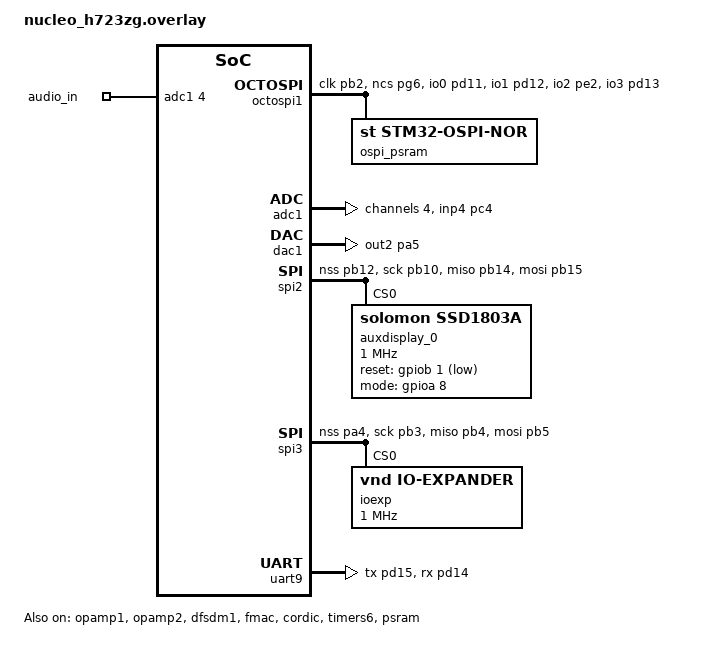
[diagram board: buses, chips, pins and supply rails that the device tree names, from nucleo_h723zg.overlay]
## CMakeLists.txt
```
# SPDX-License-Identifier: Apache-2.0

cmake_minimum_required(VERSION 3.20.0)
find_package(Zephyr REQUIRED HINTS $ENV{ZEPHYR_BASE})
project(vestal-vamp)

# GCC doesn't like the compound literal initializers used for the settings structure.
set_source_files_properties(src/settings.c PROPERTIES COMPILE_FLAGS -Wno-missing-braces)
target_sources(app PRIVATE
        src/main.c
        src/display.c
        src/filter.c
        src/adc.c
        src/dac.c
        src/io.c
        src/timer.c
        src/freq_buffer.c
        src/fft_dma.c
        src/ifft_dma.c
        src/settings.c
        src/ui.c

        src/cordic_stm32.c
        src/dfsdm_stm32.c
        src/fmac_stm32.c
        src/opamp_stm32.c
)

zephyr_code_relocate(LIBRARY modules__cmsis-dsp LOCATION ITCM_TEXT NOKEEP)
zephyr_code_relocate(FILES src/fft_dma.c src/ifft_dma.c LOCATION ITCM_TEXT NOKEEP)

#zephyr_library_compile_options("-Wc++-compat")
#zephyr_library_compile_options("-E")
```

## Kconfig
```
mainmenu "VV"

source "Kconfig.zephyr"
config VV_STM32
     default y
     bool
     select USE_STM32_LL_OPAMP
     select USE_STM32_LL_FMAC
     select USE_STM32_HAL_DFSDM
```

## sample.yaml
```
sample:
  name: vestal-vamp
  description: Vestal Vamp Digital Effects Pedal
tests:
  sample.basic.vestal-vamp:
    tags:
      - LED
      - gpio
    filter: dt_enabled_alias_with_parent_compat("led0", "gpio-leds")
    depends_on: gpio
    harness: led
    integration_platforms:
      - frdm_k64f
```

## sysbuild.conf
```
SB_CONFIG_BOOTLOADER_MCUBOOT=y

# Several options in both MCUboot and Zephyr are controlled exclusively from here:
# See zephyr/share/sysbuild/image_configurations/BOOTLOADER_image_default.cmake
SB_CONFIG_MCUBOOT_MODE_SINGLE_APP=y
SB_CONFIG_BOOT_SIGNATURE_TYPE_NONE=y
```

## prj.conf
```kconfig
CONFIG_KERNEL_BIN_NAME="vv"

CONFIG_FPU=y

#CONFIG_COUNTER_RTC_STM32=y
#CONFIG_COUNTER_RTC_STM32_SUBSECONDS=y
#CONFIG_LOG_TIMESTAMP_64BIT=y
# We run tickless, but this still provides a lower bound to the system time resolution
CONFIG_SYS_CLOCK_TICKS_PER_SEC=1000000
# ISRs are being built with a software shim. We can reduce latency by removing it, but
# isr_tables.c:.irq_info is missing, resulting in corruption of the irq table calculation.
#CONFIG_GEN_SW_ISR_TABLE=n
CONFIG_ISR_TABLES_LOCAL_DECLARATION=y
#CONFIG_ISR_TABLE_SHELL=y

# Allow relocation of .text sections to SRAM
CONFIG_CODE_DATA_RELOCATION=y

CONFIG_GPIO=y
CONFIG_INPUT=y
CONFIG_I2C=y
CONFIG_SPI=y
CONFIG_SPI_LOG_LEVEL_INF=y
CONFIG_COUNTER=y
CONFIG_COUNTER_LOG_LEVEL_INF=y
CONFIG_ADC=y
CONFIG_ADC_LOG_LEVEL_DBG=y
CONFIG_DMA_LOG_LEVEL_INF=y
#CONFIG_ADC_STM32_DMA=y
CONFIG_ADC_STM32_DISABLE_IRQ=y
CONFIG_DAC=y
CONFIG_DAC_STM32_DMA=y
CONFIG_DAC_LOG_LEVEL_INF=y
CONFIG_DMA=y
CONFIG_FLASH=y
CONFIG_FLASH_LOG_LEVEL_INF=y
CONFIG_STM32_MEMMAP=y
CONFIG_FLASH_JESD216_API=y
CONFIG_UART_ASYNC_API=y
CONFIG_PWM=y
CONFIG_RTC=y
CONFIG_DSP=y
CONFIG_AUXDISPLAY=y
CONFIG_AUXDISPLAY_LOG_LEVEL_INF=y

CONFIG_LOG=y
#CONFIG_USE_STM32_ASSERT=y
#CONFIG_LOG_BACKEND_UART=y
#CONFIG_LOG_BACKEND_UART_ASYNC=y
#CONFIG_SHELL_LOG_BACKEND=n
#CONFIG_SHELL_BACKEND_SERIAL_API_POLLING=y
CONFIG_LOG_CMDS=y
CONFIG_LOG_MODE_IMMEDIATE=n
CONFIG_LOG_MODE_DEFERRED=y
CONFIG_LOG_THREAD_ID_PREFIX=y
CONFIG_LOG_PROCESS_THREAD_SLEEP_MS=100
CONFIG_LOG_BUFFER_SIZE=4096
#CONFIG_LOG_PROCESS_TRIGGER_THRESHOLD=10

# Bootloader: these need partition definitions in flash!
CONFIG_USE_DT_CODE_PARTITION=y
CONFIG_BOOTLOADER_MCUBOOT=y
CONFIG_MCUBOOT_GENERATE_UNSIGNED_IMAGE=y
CONFIG_MCUBOOT_IMG_MANAGER=y
CONFIG_RETAINED_MEM=y
CONFIG_RETENTION=y
CONFIG_RETENTION_BOOT_MODE=y
CONFIG_RETENTION_BOOTLOADER_INFO=y
#CONFIG_RETAINED_MEM_LOG_LEVEL_DBG=y
CONFIG_RETENTION_BOOTLOADER_INFO_TYPE_MCUBOOT=y

# Features
CONFIG_NOCACHE_MEMORY=y
CONFIG_CACHE_MANAGEMENT=y

# Provides spinlock checking
#CONFIG_ASSERT=y
#CONFIG_PRINTK_SYNC=y

CONFIG_CONSOLE_SUBSYS=y
CONFIG_HWINFO=y

CONFIG_STATS=y
#CONFIG_RTIO=y
#CONFIG_I2C_RTIO=y
#CONFIG_SPI_RTIO=y

## Firmware upgrade
# There are several possible ways to implement firmware updates:
# 1) through MCUboot and DFU (or via serial recovery over ACM)
# 2) live over USB using DFU
# 3) live over serial using MCUMGR (see mcumgr-client, written in rust)
# of these DFU is probably most efficient but serial over USB likely
# requires less setup on the host machine.
#CONFIG_ZCBOR=y
#CONFIG_NETWORKING=y # Required for MCUMGR
#CONFIG_MCUMGR=y

CONFIG_IMG_MANAGER=y
CONFIG_MCUBOOT_SHELL=y
CONFIG_FLASH_MAP=y
CONFIG_FLASH_MAP_SHELL=y
CONFIG_STREAM_FLASH=y

## Application features
CONFIG_CMSIS_DSP=y
CONFIG_CMSIS_DSP_BASICMATH=y
CONFIG_CMSIS_DSP_COMPLEXMATH=y
CONFIG_CMSIS_DSP_FASTMATH=y
CONFIG_CMSIS_DSP_INTERPOLATION=y
CONFIG_CMSIS_DSP_SUPPORT=y
CONFIG_CMSIS_DSP_TRANSFORM=y
CONFIG_CMSIS_DSP_WINDOW=y

#CONFIG_CPP=y
#CONFIG_STD_CPP11=y
#CONFIG_MINIMAL_LIBCPP=y

#CONFIG_NET_IPV4_IGMP=y

# Required for HTTP
#CONFIG_NET_SHELL=y
#CONFIG_NET_STATISTICS=y
#CONFIG_NET_L2_ETHERNET=y
#CONFIG_NET_IPV6=y
#CONFIG_NET_IPV4=y
#CONFIG_NET_DHCPV4=y
#CONFIG_NET_DHCPV6=y

#CONFIG_EVENTFD=y
#CONFIG_NET_SOCKETS=y
#CONFIG_NET_TCP=y
#CONFIG_FILE_SYSTEM=y
#CONFIG_HTTP_SERVER=y

# Services
CONFIG_BOOTARGS=y
CONFIG_SHELL=y
#CONFIG_ADC_SHELL=y
#CONFIG_COUNTER_SHELL=y
#CONFIG_DAC_SHELL=y
#CONFIG_FLASH_SHELL=y
CONFIG_GPIO_SHELL=y
CONFIG_HWINFO_SHELL=y
#CONFIG_I2C_SHELL=y
#CONFIG_SPI_SHELL=y
CONFIG_STATS_SHELL=y
CONFIG_KERNEL_SHELL=y

CONFIG_I2C_STATS=y
CONFIG_SPI_STATS=y
CONFIG_THREAD_RUNTIME_STATS=y
CONFIG_SYS_HEAP_RUNTIME_STATS=y

## USB Support
# https://pid.codes/howto/: 0x1209
# https://github.com/obdev/v-usb/blob/master/usbdrv/USB-IDs-for-free.txt: 05dc:16c0 or 27d8:16c0 for libusb
# https://wiki.openmoko.org/wiki/USB_Product_IDs: 0x1457 (FIC, Inc) or 0x1d50 (Openmoko, Inc)
# In the future do we want to support using the device as an audio source?
#CONFIG_USB_DEVICE_STACK=y
#CONFIG_USB_DEVICE_VID=0x1209
## 'vv'
#CONFIG_USB_DEVICE_PID=0x7676
#CONFIG_USB_DEVICE_MANUFACTURER="Wagner Metalworks"
#CONFIG_USB_DEVICE_PRODUCT="Vestal Vamp"
#
#CONFIG_TRACING=y
#CONFIG_TRACING_CTF=y
#CONFIG_TRACING_BACKEND_USB=y

# Debugging
CONFIG_DEBUG=y
CONFIG_DEBUG_THREAD_INFO=y
#CONFIG_OPENOCD=y
CONFIG_OUTPUT_SYMBOLS=y
CONFIG_THREAD_ANALYZER=y
```

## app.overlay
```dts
/ {
	chosen {
		zephyr,code-partition = &slot0_partition;
	};
};

&fdcan1 {
	status = "disabled";
};

&octospi1 {
	pinctrl-0 = <&octospim_p1_dqs_pa1 &octospim_p1_clk_pa3 &octospim_p1_io0_pa2 &octospim_p1_io1_pb0 &octospim_p1_io2_pa7 &octospim_p1_io3_pa6>;
	pinctrl-names = "default";
	status = "okay";
};

&adc1 {
	st,adc-clock-source = <1>;
	st,adc-prescaler = <4>;
	vref-mv = <3300>;
	status = "okay";
};

&adc2 {
	st,adc-clock-source = <1>;
	st,adc-prescaler = <4>;
	vref-mv = <3300>;
	status = "okay";
};

&dac1 {
	status = "okay";
};

&dma1 {
	status = "okay";
};

&dma2 {
	status = "okay";
};

&bdma1 {
	status = "okay";
};

&dmamux1 {
	status = "okay";
};

&dmamux2 {
	status = "okay";
};

&sram4 {
	zephyr,memory-attr = <DT_MEM_ARM_MPU_RAM_NOCACHE>;
	status = "okay";
};

&mac {
	status = "okay";
};

&flash0 {
	partitions {
		compatible = "fixed-partitions";
		#address-cells = <1>;
		#size-cells = <1>;

		boot_partition: partition@0 {
			label = "mcuboot";
			reg = <0x00000000 0xc000>;
		};
		slot0_partition: partition@c000 {
			label = "image-0";
			reg = <0x0000C000 0x60000>;
		};
		slot1_partition: partition@6c000 {
			label = "image-1";
			reg = <0x0006c000 0x60000>;
		};
		storage_partition: partition@bc000 {
			label = "storage";
			reg = <0x000bc000 0x00044000>;
		};
	};
};
```

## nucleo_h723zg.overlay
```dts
/ {
	chosen {
		zephyr,code-partition = &slot0_partition;
		zephyr,boot-mode = &boot_mode0;
		zephyr,bootloader-info = &boot_info0;
		ioexp,uart = &uart9;
		ioexp,spi = &ioexp;
	};

	zephyr,user {
		io-channels = <&adc1 4>;
		io-channel-names = "audio_in";

		dmas = <&dmamux1 5 0 (STM32_DMA_MEMORY_TO_MEMORY | STM32_DMA_MEM_INC |
		       STM32_DMA_MEM_32BITS | STM32_DMA_PERIPH_32BITS)>,
		       <&dmamux1 6 0 (STM32_DMA_MEMORY_TO_MEMORY | STM32_DMA_MEM_INC |
		       STM32_DMA_MEM_32BITS | STM32_DMA_PERIPH_32BITS)>;
		dma-names = "audio_in_dma", "audio_out_dma";
	};

	psram: psram@90000000 {
		compatible = "zephyr,memory-region", "mmio-sram";
		device_type = "memory";
		reg = <0x90000000 DT_SIZE_M(8)>;
		zephyr,memory-region = "PSRAM";
		status = "okay";
	};
};


&backup_sram {
	retainedmem0: retainedmem {
		compatible = "zephyr,retained-ram";
		status = "okay";
		#address-cells = <1>;
		#size-cells = <1>;

		boot_info0: retention@0 {
			compatible = "zephyr,retention";
			status = "okay";
			reg = <0x00 0x100>;
		};
		boot_mode0: retention@100 {
			compatible = "zephyr,retention";
			status = "okay";
			reg = <0x100 0x1>;
		};
	};
};

&flash0 {
	partitions {
		compatible = "fixed-partitions";
		#address-cells = <1>;
		#size-cells = <1>;

		boot_partition: partition@0 {
			label = "mcuboot";
			reg = <0x00000000 0x20000>;
		};
		slot0_partition: partition@20000 {
			label = "image-0";
			reg = <0x00020000 0x60000>;
		};
		slot1_partition: partition@80000 {
			label = "image-1";
			reg = <0x00080000 0x60000>;
		};

		storage_partition: partition@e0000 {
			label = "storage";
			reg = <0x000e0000 0x00020000>;
		};
	};
};

&octospi1 {
	pinctrl-0 = <
		&octospim_p1_clk_pb2
		&octospim_p1_ncs_pg6
		&octospim_p1_io0_pd11
		&octospim_p1_io1_pd12
		&octospim_p1_io2_pe2
		&octospim_p1_io3_pd13>;
	pinctrl-names = "default";
	status = "okay";

	ospi_psram: ospi_psram@90000000 {
		/* The PSRAM functionally behaves like NOR flash, using the same commands. */
		compatible = "st,stm32-ospi-nor";
		reg = <0x90000000 DT_SIZE_M(8)>; /* 64 Mbits */
		/* The datasheet says 33 MHz is the max for a basic single-byte SPI read
		 * (cmd 'h03), 84 MHz for bursts crossing page boundaries, and 133 MHz
		 * otherwise. Start off at 33 MHz to get things working.
		 * Data sample training is required for speeds > 84 MHz.
		 */
		ospi-max-frequency = <DT_FREQ_M(33)>;
		spi-bus-width = <OSPI_QUAD_MODE>;
		data-rate = <OSPI_STR_TRANSFER>;
		status = "okay";

		/* The PSRAM doesn't appear to support SFDP so we need to specify those
		 * parameters here. 36 bytes LE.
		 */
		sfdp-bfp = [
			53 46 44 50  00 01 00 ff  00 00 01 0f  10 00 00 ff
			00 00 20 00  ff ff ff 03  06 eb 00 00  00 00 00 00
			10 00 00 00  00 00 00 00  00 00 06 eb  00 00 00 00
			00 00 00 00  00 00 00 00  a0 00 00 00  00 00 00 00
			00 00 00 00  00 00 00 00  00 00 00 00
		];
	};
};

&opamp1 {
	pinctrl-0 = <&analog_pb0>; /* vinp, vinn is connected internally */
	pinctrl-names = "default";
	status = "okay";

	pos-term = <0>; /* gpio */
	neg-term = <3>; /* vinm */
};

&opamp2 {
	pinctrl-0 = <&analog_pe7>;
	pinctrl-names = "default";
	status = "okay";

	pos-term = <1>; /* dac */
	neg-term = <3>; /* vinm */
};

&dfsdm1 {
	dmas = <&dmamux1 3 101 (STM32_DMA_PERIPH_TO_MEMORY | STM32_DMA_MEM_INC |
		STM32_DMA_MEM_16BITS | STM32_DMA_PERIPH_16BITS)>;
	dma-names = "rx";
	status = "okay";

	sinc_order = "sinc4";
	intg_oversample = <1>;
	sinc_oversample = <16>;
	rshift = <1>;
};

&fmac {
	dmas = <&dmamux1 2 121 (STM32_DMA_MEMORY_TO_PERIPH | STM32_DMA_MEM_INC |
		STM32_DMA_MEM_16BITS | STM32_DMA_PERIPH_16BITS)>;
	dma-names = "tx";
	status = "okay";

	/* The below need to match the oversampling ratio in audio.h! */
	x1_wm = <1>;
	x1_size = <128>;
	y_wm = <1>;
	y_size = <4>;
	x2_size = <124>;

	operation = "convolution";
	lshift = <0>;
	clip;
};

&cordic {
	dmas = <&dmamux1 0 123 STM32_DMA_PERIPH_TX>,
		<&dmamux1 1 122 STM32_DMA_PERIPH_RX>;
	dma-names = "tx", "rx";
	/* dmamux1 122 RD 123 WR */
	status = "okay";
};

&adc1 {
	#address-cells = <1>;
	#size-cells = <0>;

	pinctrl-0 = <&adc1_inp4_pc4>; /* opamp1 output */
	pinctrl-names = "default";

	st,adc-clock-source = <SYNC>;
	/* 34375 kHz or 550 MHz/16 */
	st,adc-prescaler = <4>;
	/* The ADC full range is in fact 3.3V, but the opamp doesn't appear to
	 * want to drive beyond 2.5V. TODO: investigate */
	vref-mv = <3300>;
	status = "okay";

	channel@4 {
		reg = <4>;
		zephyr,gain = "ADC_GAIN_1";
		/* This is the offset for 1.25 V */
		zephyr,offset = <0x60F8>;
		zephyr,reference = "ADC_REF_INTERNAL";
		zephyr,acquisition-time = <ADC_ACQ_TIME(ADC_ACQ_TIME_TICKS, 17)>;
		zephyr,resolution = <16>;
		zephyr,trig-src = <13>;
	};
};

&adc2 {
	st,adc-clock-source = <1>;
	st,adc-prescaler = <4>;
	vref-mv = <3300>;
	status = "disabled";
};

&dac1 {
	pinctrl-0 = <&dac1_out2_pa5>;
	pinctrl-names = "default";
	status = "okay";

	/* DMA to DAC consumes from FMAC output register.
	 * 67 = dac1ch1, 68 = dac1ch2
	 */
	dmas = <&dmamux1 4 68 (STM32_DMA_MEMORY_TO_PERIPH |
		       STM32_DMA_MEM_16BITS | STM32_DMA_PERIPH_16BITS)>;
	dma-names = "tx";
};

&dma1 {
	status = "okay";
};

&dma2 {
	status = "okay";
};

&bdma1 {
	status = "okay";
};

&dmamux1 {
	status = "okay";
};

&dmamux2 {
	status = "okay";
};

&sram4 {
	zephyr,memory-attr = <DT_MEM_ARM_MPU_RAM_NOCACHE>;
	status = "okay";
};

&mac {
	status = "okay";
};

&spi2 {
	fifo-enable;
	pinctrl-0 = <&spi2_nss_pb12 &spi2_sck_pb10 &spi2_miso_pb14 &spi2_mosi_pb15>;
	pinctrl-names = "default";
	status = "okay";

	/* This ensures we use hardware /CS control */
	/delete-property/ cs-gpios;

	auxdisplay_0: display@0 {
		compatible = "solomon,ssd1803a";
		spi-max-frequency = <1000000>;
		reg = <0>;
		status = "okay";

		reset-gpios = <&gpiob 1 (GPIO_ACTIVE_LOW | GPIO_PULL_UP)>;
		mode-gpios = <&gpioa 8 (GPIO_ACTIVE_HIGH | GPIO_PULL_UP)>;

		columns = <20>;
		rows = <4>;
		cgrom-size = <240>;
		character-set = <0>;
	};
};

&spi3 {
	fifo-enable;
	pinctrl-0 = <&spi3_nss_pa4 &spi3_sck_pb3 &spi3_miso_pb4 &spi3_mosi_pb5>;
	pinctrl-names = "default";
	status = "okay";

	/* This ensures we use hardware /CS control */
	/delete-property/ cs-gpios;

	ioexp: ioexp@0 {
		compatible = "vnd,io-expander";
		spi-max-frequency = <DT_FREQ_M(1)>;
		reg = <0>;
		status = "okay";
	};
};

&uart9 {
	pinctrl-0 = <&uart9_tx_pd15 &uart9_rx_pd14>;
	pinctrl-names = "default";
	status = "okay";
};

&timers6 {
	st,prescaler = <0>;
	status = "okay";

	counter {
		status = "okay";
	};
};

/* Unused hardware */
&fdcan1 {
	status = "disabled";
};

&ext_memory {
	status = "disabled";
};

&i2c1 {
	status = "disabled";
};

&spi1 {
	status = "disabled";
};

&usart2 {
	status = "disabled";
};

/* Disable MAC and MDIO for now to free up PC4. Still need to remove
 * SB36 to avoid driving RMII_RXD0 mid-threshold.
 */
&mac {
	status = "disabled";
};

&mdio {
	status = "disabled";
};

&green_led {
	/* We use PA5 for the DAC output and PB0 for the input opamp */
	status = "disabled";
};
```

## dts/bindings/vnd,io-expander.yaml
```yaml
# Copyright (c) 2020 Nordic Semiconductor ASA
# SPDX-License-Identifier: Apache-2.0

description: I/O Expander

compatible: "vnd,io-expander"

include:
  - name: spi-device.yaml
```

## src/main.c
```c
/*
 * Copyright (c) 2016 Intel Corporation
 *
 * SPDX-License-Identifier: Apache-2.0
 */

#include <stdio.h>
#include <zephyr/kernel.h>
#include <zephyr/drivers/gpio.h>
#include <zephyr/logging/log.h>

#include "filter.h"
#include "adc.h"
#include "dac.h"
#include "display.h"
#include "io.h"
#include "timer.h"
#include "filter.h"
#include "fft_dma.h"
#include "ifft_dma.h"

#include "settings.h"
#include "ui.h"

LOG_MODULE_REGISTER(main, LOG_LEVEL_INF);

#define SLEEP_TIME_MS 250

/* The devicetree node identifier for the "led1" alias. */
#define LED_NODE DT_ALIAS(led1)

static const struct gpio_dt_spec led = GPIO_DT_SPEC_GET(LED_NODE, gpios);

/* TODO:
SPI to ioexp debug
FFT/IFFT re-enable time and pitch shift
granular control
FFT/IFFT optimization
*/

void ui_display(uint16_t frame);

int main(void)
{
	int ret;
	bool led_state = true;

	if (!gpio_is_ready_dt(&led)) {
		return 0;
	}

	ret = gpio_pin_configure_dt(&led, GPIO_OUTPUT_ACTIVE);
	if (ret < 0) {
		return 0;
	}

	settings_init();
	io_init();

	/* Data init */
	fft_init();
	ifft_init();

	adc_init();
	dac_init();
	timer_init();
	display_init();

	k_msleep(100);

	filter_start();
	adc_start();
	timer_start();

	// k_msleep(100);
	// timer_stop();

	uint16_t i = 0;
	while (1) {
		ret = gpio_pin_toggle_dt(&led);
		if (ret < 0) {
			return 0;
		}

		led_state = !led_state;

		ui_display(i);
		i++;

#if 0
		while (1) {
			volatile uint32_t *pin = (volatile uint32_t *)(0x90000000);
			volatile uint32_t *pout = (volatile uint32_t *)(0x90000010);
			for (int j=0;j<256;j++) {
				pout[j] = j;
				pin[j] = pout[256 - j];
			}
			k_msleep(1);
		}
#endif
		io_work();
		// timer_stats();
		// adc_stats();
		// dac_stats();
		//filter_stats();
		k_msleep(SLEEP_TIME_MS);
	}
	return 0;
}
```

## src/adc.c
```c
#include <zephyr/drivers/adc.h>
#include <zephyr/drivers/dma.h>
#include <zephyr/kernel.h>
#include <zephyr/logging/log.h>
#include "audio.h"
#include "adc.h"
#include "dma.h"
#include "fft_dma.h"

LOG_MODULE_REGISTER(audio_adc, LOG_LEVEL_INF);

/* Data of ADC io-channels specified in devicetree. */
static const struct adc_dt_spec adc_channel =
	ADC_DT_SPEC_GET_BY_NAME(DT_PATH(zephyr_user), audio_in);

static const struct adc_sequence_options opts = {
	.continuous = true,
};

static struct adc_sequence sequence = {
	.options = &opts,
	.buffer = &adc_buffer,
	/* buffer size in bytes, not number of samples */
	.buffer_size = sizeof(adc_buffer),
};

int adc_init(void)
{
	int ret;

	/* Configure channels individually prior to sampling. */
	ret = adc_is_ready_dt(&adc_channel);
	if (!ret) {
		LOG_ERR("ADC controller device %s not ready", adc_channel.dev->name);
		return ret;
	}

	LOG_INF("ADC %s:%d: %d bits, vref %d, %d ticks, trig %d", adc_channel.dev->name,
		adc_channel.channel_id, adc_channel.resolution, adc_channel.vref_mv,
		adc_channel.channel_cfg.acquisition_time, adc_channel.channel_cfg.trig_src);
	ret = adc_channel_setup_dt(&adc_channel);
	if (ret < 0) {
		LOG_ERR("Could not setup channel: %d\n", ret);
		return ret;
	}

	return 0;
}

int adc_start(void)
{
	int err;

	(void)adc_sequence_init_dt(&adc_channel, &sequence);

	err = adc_read_dt(&adc_channel, &sequence);
	if (err < 0) {
		LOG_ERR("Could not read (%d)", err);
		return err;
	}
	/* This is hacked together such that the read call returns
	 * before data is available, as we're in streaming mode.
	 */

	return 0;
}
```

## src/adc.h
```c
#ifndef __ADC_H__
#define __ADC_H__

#include <stdint.h>
#include "audio.h"

/* Internal */
#define SAMPLE_COUNT   16
#define ADC_RESOLUTION 16

/* The amount of data for each callback. This is half the buffer size because
 * we use the half-transfer interrupt used in cyclic mode
 */
#define AUDIO_IN_BLOCK_SIZE FFT_SIZE

extern audio_raw_t adc_buffer[AUDIO_IN_BLOCK_SIZE * 2];

int adc_init(void);
int adc_start(void);
int adc_stats(void);

#endif /* __ADC_H__ */
```

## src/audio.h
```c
#ifndef __AUDIO_H__
#define __AUDIO_H__

#include <stdint.h>

#define AUDIO_TIMER_HZ   48000
#define AUDIO_OVERSAMPLE 16

/**
 * The size of the FFT in real samples.
 */
#define FFT_SIZE 1024

/**
 * The natural log base 2 of `INV_OVERLAP`.
 */
#define INV_OVERLAP_BITS 2

/**
 * The inverse of one minus the window overlap amount. If the overlap is 75%, the
 * inverse overlap is 4.
 */
#define INV_OVERLAP (1 << INV_OVERLAP_BITS)

/**
 * The size of the window overlap in real samples.
 */
#define OVERLAP_SAMPLES (FFT_SIZE / INV_OVERLAP)

typedef int16_t audio_raw_t;

#endif /* __AUDIO_H__ */
```

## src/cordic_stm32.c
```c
#define DT_DRV_COMPAT st_stm32_cordic

#include <zephyr/kernel.h>
#include <soc.h>
#include <zephyr/init.h>
#include <zephyr/logging/log.h>
#include <zephyr/drivers/reset.h>
#include <zephyr/drivers/clock_control.h>
#include <zephyr/drivers/clock_control/stm32_clock_control.h>
#include <zephyr/drivers/dma/dma_stm32.h>
#include <zephyr/drivers/dma.h>
#include <zephyr/toolchain.h>

#include <stm32_ll_dma.h>
#include <stm32h7xx_ll_cordic.h>
#include "cordic_stm32.h"

LOG_MODULE_REGISTER(cordic_stm32, LOG_LEVEL_INF);

struct stream {
	const struct device *dma_dev;
	uint32_t channel;
	struct dma_config dma_cfg;
	struct dma_block_config dma_blk_cfg;
	uint8_t mem_burst;
};

struct cordic_stm32_config {
	const struct stm32_pclken *pclken;
	size_t pclk_len;
	/* reset controller device configuration*/
	const struct reset_dt_spec reset;
};

struct cordic_stm32_data {
	CORDIC_TypeDef *cordic;

	/* For now only sample input DMA is implemented. */
	struct stream dma_tx;
	struct stream dma_rx;
	volatile int dma_error;

	const struct cordic_cmd *cmd;
};

/* Returns the number of arguments for each function. See CORDIC documentation
 * for the associated STM32.
 */
static inline int cordic_arg_count(enum cordic_func func)
{
	switch (func) {
	case CORDIC_FUNC_COSINE:
	case CORDIC_FUNC_SINE:
	case CORDIC_FUNC_PHASE:
	case CORDIC_FUNC_MODULUS:
		return 2;
	case CORDIC_FUNC_ARCTANGENT:
	case CORDIC_FUNC_HCOSINE:
	case CORDIC_FUNC_HSINE:
	case CORDIC_FUNC_HARCTANGENT:
	case CORDIC_FUNC_NATURALLOG:
	case CORDIC_FUNC_SQUAREROOT:
		return 1;
	}

	LOG_ERR("Invalid CORDIC func");
	return 0;
}

/* Returns the number of results for each function. See CORDIC documentation
 * for the associated STM32.
 */
static inline int cordic_res_count(enum cordic_func func)
{
	switch (func) {
	case CORDIC_FUNC_COSINE:
	case CORDIC_FUNC_SINE:
	case CORDIC_FUNC_PHASE:
	case CORDIC_FUNC_MODULUS:
	case CORDIC_FUNC_HCOSINE:
	case CORDIC_FUNC_HSINE:
		return 2;
	case CORDIC_FUNC_ARCTANGENT:
	case CORDIC_FUNC_HARCTANGENT:
	case CORDIC_FUNC_NATURALLOG:
	case CORDIC_FUNC_SQUAREROOT:
		return 1;
	}

	LOG_ERR("Invalid CORDIC func");
	return 0;
}

static inline int cordic_arg_width(const struct cordic_cmd *cmd)
{
	if (cmd->arg_format == CORDIC_FORMAT_32) {
		return 2 * cordic_arg_count(cmd->func);
	}
	return cordic_arg_count(cmd->func);
}

static inline int cordic_res_width(const struct cordic_cmd *cmd)
{
	if (cmd->arg_format == CORDIC_FORMAT_32) {
		return 2 * cordic_res_count(cmd->func);
	}
	return cordic_res_count(cmd->func);
}

static inline void cordic_config(CORDIC_TypeDef *cordic, const struct cordic_cmd *cmd)
{
	LL_CORDIC_Config(cordic, (uint32_t)cmd->func << CORDIC_CSR_FUNC_Pos,
			 (uint32_t)cmd->iterations << CORDIC_CSR_PRECISION_Pos,
			 (uint32_t)cmd->lshift << CORDIC_CSR_SCALE_Pos,
			 cordic_arg_width(cmd) == 4 ? LL_CORDIC_NBWRITE_2 : LL_CORDIC_NBWRITE_1,
			 cordic_res_width(cmd) == 4 ? LL_CORDIC_NBREAD_2 : LL_CORDIC_NBREAD_1,
			 cmd->arg_format == CORDIC_FORMAT_16 ? LL_CORDIC_INSIZE_16BITS
							     : LL_CORDIC_INSIZE_32BITS,
			 cmd->res_format == CORDIC_FORMAT_16 ? LL_CORDIC_OUTSIZE_16BITS
							     : LL_CORDIC_OUTSIZE_32BITS);
}

static void dma_tx_callback(const struct device *dev, void *user_data, uint32_t channel, int status)
{
	/* user_data directly holds the cordic device */
	struct cordic_stm32_data *data = (struct cordic_stm32_data *)user_data;

	if (channel == data->dma_tx.channel) {
		if (status < 0) {
			LOG_ERR("DMA sampling complete, but DMA reported error %d", status);
			data->dma_error = status;
			LL_CORDIC_DisableDMAReq_WR(data->cordic);
		}
		dma_stop(data->dma_tx.dma_dev, data->dma_tx.channel);
	}
}

static void dma_rx_callback(const struct device *dev, void *user_data, uint32_t channel, int status)
{
	/* user_data directly holds the cordic device */
	struct cordic_stm32_data *data = (struct cordic_stm32_data *)user_data;

	if (channel == data->dma_rx.channel) {
		if (data->cmd->callback) {
			data->cmd->callback(dev, status);
		}
		if (status < 0) {
			LOG_ERR("DMA sampling complete, but DMA reported error %d", status);
			data->dma_error = status;
			LL_CORDIC_DisableDMAReq_RD(data->cordic);
		}
		dma_stop(data->dma_rx.dma_dev, data->dma_rx.channel);
	}
}

static int cordic_stm32_dma_start(const struct device *dev, const struct cordic_cmd *cmd,
				  bool is_tx)
{
	struct cordic_stm32_data *data = (struct cordic_stm32_data *)dev->data;
	struct dma_block_config *blk_cfg;
	int ret;

	struct stream *dma = is_tx ? &data->dma_tx : &data->dma_rx;

	blk_cfg = &dma->dma_blk_cfg;

	if (is_tx) {
		blk_cfg->block_size = cmd->count * cordic_arg_width(data->cmd);

		/* memory to peripheral */
		blk_cfg->source_address = (uint32_t)cmd->buffer_arg;
		blk_cfg->source_addr_adj = DMA_ADDR_ADJ_INCREMENT;
		dma->dma_cfg.source_data_size = 4;
		dma->dma_cfg.source_burst_length = dma->mem_burst;

		blk_cfg->dest_address = (uint32_t)&data->cordic->WDATA;
		blk_cfg->dest_addr_adj = DMA_ADDR_ADJ_NO_CHANGE;
		/* Perform 16-bit writes to the CORDIC block only if there's
		 * only one 16-bit argument per operation.
		 */
		dma->dma_cfg.dest_data_size = cordic_arg_width(data->cmd) == 1 ? 2 : 4;
		/* Only perform a single write per write request */
		dma->dma_cfg.dest_burst_length = 1;
	} else {
		blk_cfg->block_size = cmd->count * cordic_res_width(data->cmd);

		/* peripheral to memory */
		blk_cfg->source_address = (uint32_t)&data->cordic->RDATA;
		blk_cfg->source_addr_adj = DMA_ADDR_ADJ_NO_CHANGE;
		/* Same computation on the read side */
		dma->dma_cfg.source_data_size = cordic_res_width(data->cmd) == 1 ? 2 : 4;
		/* Only perform a single read per read request */
		dma->dma_cfg.source_burst_length = 1;

		blk_cfg->dest_address = (uint32_t)cmd->buffer_res;
		blk_cfg->dest_addr_adj = DMA_ADDR_ADJ_INCREMENT;
		dma->dma_cfg.dest_data_size = 4;
		dma->dma_cfg.dest_burst_length = dma->mem_burst;
	}
	blk_cfg->source_reload_en = 0;
	blk_cfg->dest_reload_en = 0;

	/* Manually set the FIFO threshold to 1/4 because the
	 * dmamux DTS entry does not contain fifo threshold
	 */
	blk_cfg->fifo_mode_control = 0;

	blk_cfg->next_block = NULL;

	/* direction is given by the DT */
	dma->dma_cfg.block_count = 1;
	dma->dma_cfg.complete_callback_en = 1; /* Callback at each block */

	dma->dma_cfg.head_block = blk_cfg;
	dma->dma_cfg.user_data = data;

	ret = dma_config(dma->dma_dev, dma->channel, &dma->dma_cfg);
	if (ret != 0) {
		LOG_ERR("Problem setting up DMA: %d", ret);
		return ret;
	}

	data->dma_error = 0;
	ret = dma_start(dma->dma_dev, dma->channel);
	if (ret != 0) {
		LOG_ERR("Problem starting DMA: %d", ret);
		return ret;
	}

	LOG_DBG("DMA started: %d B to %p", blk_cfg->block_size, (void *)blk_cfg->dest_address);

	return ret;
}

int cordic_stm32_start(const struct device *dev, const struct cordic_cmd *cmd)
{
	struct cordic_stm32_data *data = (struct cordic_stm32_data *)dev->data;

	data->cmd = cmd;

	cordic_stm32_dma_start(dev, cmd, false);
	cordic_stm32_dma_start(dev, cmd, true);

	/* Enable DMA read and write requests */
	LL_CORDIC_EnableDMAReq_WR(data->cordic);
	LL_CORDIC_EnableDMAReq_RD(data->cordic);

	LOG_DBG("CORDIC started");
	return 0;
}

static int cordic_stm32_init(const struct device *dev)
{
	const struct cordic_stm32_config *cfg = (const struct cordic_stm32_config *)dev->config;
	int err;

	if (!device_is_ready(DEVICE_DT_GET(STM32_CLOCK_CONTROL_NODE))) {
		LOG_ERR("clock control device not ready");
		return -ENODEV;
	}

	/* TODO: we don't currently support clock selection */
	err = clock_control_on(DEVICE_DT_GET(STM32_CLOCK_CONTROL_NODE),
			       (clock_control_subsys_t)&cfg->pclken[0]);
	if (err < 0) {
		LOG_ERR("Could not enable CORDIC clock");
		return err;
	}

	if (!device_is_ready(cfg->reset.dev)) {
		LOG_ERR("Reset controller device not ready");
		return -ENODEV;
	}

	err = reset_line_toggle(cfg->reset.dev, cfg->reset.id);
	if (err != 0) {
		LOG_ERR("CORDIC reset failed");
		return err;
	}

	LOG_DBG("%s: init complete", dev->name);

	return 0;
}

#define CORDIC_DMA_CHANNEL_INIT(index, src_dev, dest_dev, name)                                    \
	.dma_##name = {                                                                            \
		.dma_dev = DEVICE_DT_GET(DT_INST_DMAS_CTLR_BY_NAME(index, name)),                  \
		.channel = DT_INST_DMAS_CELL_BY_NAME(index, name, channel),                        \
		.mem_burst = 4,                                                                    \
		.dma_cfg =                                                                         \
			{                                                                          \
				.dma_slot = STM32_DMA_SLOT(index, name, slot),                     \
				.channel_direction = STM32_DMA_CONFIG_DIRECTION(                   \
					STM32_DMA_CHANNEL_CONFIG(index, name)),                    \
				.source_data_size = STM32_DMA_CONFIG_##src_dev##_DATA_SIZE(        \
					STM32_DMA_CHANNEL_CONFIG(index, name)),                    \
				.dest_data_size = STM32_DMA_CONFIG_##dest_dev##_DATA_SIZE(         \
					STM32_DMA_CHANNEL_CONFIG(index, name)),                    \
				.channel_priority = STM32_DMA_CONFIG_PRIORITY(                     \
					STM32_DMA_CHANNEL_CONFIG(index, name)),                    \
				.dma_callback = dma_##name##_callback,                             \
				.block_count = 1,                                                  \
			},                                                                         \
	}

#define STM32_CORDIC_INIT(id)                                                                      \
                                                                                                   \
	static const struct stm32_pclken pclken_##id[] = STM32_DT_INST_CLOCKS(id);                 \
                                                                                                   \
	static const struct cordic_stm32_config cordic_stm32_cfg_##id = {                          \
		.pclken = pclken_##id,                                                             \
		.pclk_len = DT_INST_NUM_CLOCKS(id),                                                \
		.reset = RESET_DT_SPEC_INST_GET(id),                                               \
	};                                                                                         \
                                                                                                   \
	static struct cordic_stm32_data cordic_stm32_data_##id = {                                 \
		.cordic = (CORDIC_TypeDef *)DT_INST_REG_ADDR(id),                                  \
		CORDIC_DMA_CHANNEL_INIT(id, MEMORY, PERIPHERAL, tx),                               \
		CORDIC_DMA_CHANNEL_INIT(id, PERIPHERAL, MEMORY, rx),                               \
	};                                                                                         \
                                                                                                   \
	DEVICE_DT_INST_DEFINE(id, &cordic_stm32_init, NULL, &cordic_stm32_data_##id,               \
			      &cordic_stm32_cfg_##id, POST_KERNEL, CONFIG_DMA_INIT_PRIORITY, NULL)

DT_INST_FOREACH_STATUS_OKAY(STM32_CORDIC_INIT)
```

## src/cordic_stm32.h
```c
#ifndef __CORDIC_STM32_H__
#define __CORDIC_STM32_H__

#include <zephyr/kernel.h>

enum cordic_func {
	CORDIC_FUNC_COSINE,
	CORDIC_FUNC_SINE,
	CORDIC_FUNC_PHASE,
	CORDIC_FUNC_MODULUS,
	CORDIC_FUNC_ARCTANGENT,
	CORDIC_FUNC_HCOSINE,
	CORDIC_FUNC_HSINE,
	CORDIC_FUNC_HARCTANGENT,
	CORDIC_FUNC_NATURALLOG,
	CORDIC_FUNC_SQUAREROOT,
};

enum cordic_data_format {
	CORDIC_FORMAT_16,
	CORDIC_FORMAT_32,
};

typedef int (*cordic_dma_callback)(const struct device *dev, int status);

struct cordic_cmd {
	/**
	 * The math operation to perform
	 */
	enum cordic_func func;

	/**
	 * The number of iterations to execute. Higher number of iterations
	 * takes longer but produces lower error. Valid values 1-15, with
	 * values of 3-6 recommended for most functions.
	 */
	uint8_t iterations; /* 1-15 */

	/**
	 * The number of bits to left-shift the result. Valid values 1-7.
	 */
	uint8_t lshift;

	/**
	 * The format of the input data to be processed.
	 */
	enum cordic_data_format arg_format;

	/**
	 * The format of the output data.
	 */
	enum cordic_data_format res_format;

	/**
	 * The source (argument) buffer.
	 */
	void *buffer_arg;

	/**
	 * The destination (result) buffer.
	 */
	void *buffer_res;

	/**
	 * The number of computations to perform. The number and size of
	 * the argument and result values depends on the function being
	 * performed and the width of the inputs and outputs.
	 */
	uint32_t count;

	/**
	 * An optional callback to call once the computation is performed and
	 * the destination buffer has been filled.
	 */
	cordic_dma_callback callback;
};

int cordic_stm32_start(const struct device *dev, const struct cordic_cmd *cmd);

#endif /* __CORDIC_STM32_H__ */
```

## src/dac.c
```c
#include <zephyr/drivers/dac.h>
#include <zephyr/kernel.h>
#include <zephyr/logging/log.h>
#include <stm32_ll_dac.h>
#include "audio.h"
#include "filter.h"
#include "dac.h"
#include "ifft_dma.h"

LOG_MODULE_REGISTER(audio_dac, LOG_LEVEL_DBG);

static const struct device *const dac_dev = DEVICE_DT_GET(DT_NODELABEL(dac1));

static uint32_t sample_count;

static struct dac_channel_cfg dac_cfg = {
	.channel_id = 2, // Channel is 1-indexed
	.resolution = 12,
	.internal = true,
	.buffered = true, /* May not need buffer for internal-only connection? */
	.continuous = true,
	.callback = NULL,
	.buffer_base = NULL,
	.buffer_size = (1 << 15),
	/* DAC is triggered by same timer as ADC */
	.trig_src = LL_DAC_TRIG_EXT_TIM6_TRGO,
};

int dac_init(void)
{
	int ret;

	sample_count = 0;
	/* Use FMAC read register for DMA source address */
	dac_cfg.buffer_base = (void *)filter_get_dac_dma_addr();
	LOG_DBG("Setting DAC DMA source address to %p", dac_cfg.buffer_base);

	ret = dac_channel_setup(dac_dev, &dac_cfg);
	if (ret < 0) {
		LOG_ERR("Error during dac_channel_setup: %d", ret);
		return ret;
	}
	/* The first value must be written to the DAC to enable updates */
	dac_write_value(dac_dev, 1, 0);

	return 0;
}

int dac_stats(void)
{
	LOG_INF("%s: %d samples", dac_dev->name, sample_count);
	return 0;
}
```

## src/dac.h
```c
#ifndef __DAC_H__
#define __DAC_H__

#include <stdint.h>
#include "audio.h"

/* Internal */
#define DAC_RESOLUTION 12

int dac_init(void);
int dac_stats(void);

/* The size of the buffer in samples */
#define AUDIO_OUT_SAMPLE_CNT FFT_SIZE

extern uint16_t dac_buffer[2 * AUDIO_OUT_SAMPLE_CNT];

#endif /* __DAC_H__ */
```

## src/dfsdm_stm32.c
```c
#define DT_DRV_COMPAT st_stm32_dfsdm

#include <zephyr/kernel.h>
#include <soc.h>
#include <zephyr/init.h>
#include <zephyr/logging/log.h>
#include <zephyr/drivers/reset.h>
#include <zephyr/drivers/clock_control.h>
#include <zephyr/drivers/clock_control/stm32_clock_control.h>
#include <zephyr/drivers/dma/dma_stm32.h>
#include <zephyr/drivers/dma.h>
#include <zephyr/toolchain.h>

#include <stm32_ll_dma.h>
#include <stm32h7xx_hal_dfsdm.h>
#include "dfsdm_stm32.h"

LOG_MODULE_REGISTER(dfsdm_stm32, LOG_LEVEL_INF);

struct stream {
	const struct device *dma_dev;
	uint32_t channel;
	struct dma_config dma_cfg;
	struct dma_block_config dma_blk_cfg;
	uint8_t priority;
	bool src_addr_increment;
	bool dst_addr_increment;
};

struct dfsdm_stm32_config {
	const struct stm32_pclken *pclken;
	size_t pclk_len;
	/* reset controller device configuration*/
	const struct reset_dt_spec reset;
};

enum sinc_order_t {
	SINC_FASTSINC = 0,
	SINC_SINC1,
	SINC_SINC2,
	SINC_SINC3,
	SINC_SINC4,
	SINC_SINC5,
};

struct dfsdm_stm32_data {
	DFSDM_Channel_HandleTypeDef channel;
	DFSDM_Filter_HandleTypeDef filter;
	struct stream dma;
	volatile int dma_error;

	uint8_t *buffer;
	size_t buffer_len;
	bool continuous;

	/* Filter configuration from DT */
	enum sinc_order_t sinc_order;
	uint16_t sinc_oversample;
	uint16_t intg_oversample;
	uint8_t rshift;

	dfsdm_dma_callback callback;
};

static void dma_callback(const struct device *dev, void *user_data, uint32_t channel, int status)
{
	/* user_data directly holds the dfsdm device */
	struct dfsdm_stm32_data *data = (struct dfsdm_stm32_data *)user_data;

	if (channel == data->dma.channel) {
		if (status >= 0) {
			LOG_DBG("status %d", status);
			/* HAL_DFSDM_FilterGetExdM??Value is unnecessarily complex for our single-
			 * channel application, so just read the register. Data will be left-
			 * aligned in the int32.
			 */
			int32_t min = data->filter.Instance->FLTEXMIN & DFSDM_FLTEXMIN_EXMIN;
			int32_t max = data->filter.Instance->FLTEXMAX & DFSDM_FLTEXMAX_EXMAX;
			data->callback(dev, status, min, max);
			if (!data->continuous) {
				/* Stop the DMA engine, only to start it again when the callback
				 * returns DFSDM_ACTION_REPEAT or DFSDM_ACTION_CONTINUE, or the
				 * number of samples haven't been reached Starting the DMA engine is
				 * done within dfsdm_context_start_sampling
				 */
				dma_stop(data->dma.dma_dev, data->dma.channel);
			}
		} else if (status < 0) {
			LOG_ERR("DMA sampling complete, but DMA reported error %d", status);
			data->dma_error = status;
			HAL_DFSDM_FilterRegularStop(&data->filter);
			dma_stop(data->dma.dma_dev, data->dma.channel);
			data->callback(dev, status, 0, 0);
		}

		if (data->filter.State == HAL_DFSDM_FILTER_STATE_ERROR) {
			LOG_ERR("Filter reported error state: %d", data->filter.ErrorCode);
			HAL_DFSDM_FilterRegularStop(&data->filter);
			dma_stop(data->dma.dma_dev, data->dma.channel);
		}
	}
}

static int dfsdm_stm32_dma_start(const struct device *dev, void *buffer, size_t buffer_len)
{
	struct dfsdm_stm32_data *data = (struct dfsdm_stm32_data *)dev->data;
	struct dma_block_config *blk_cfg;
	int ret;

	struct stream *dma = &data->dma;

	data->buffer = (uint8_t *)buffer;
	data->buffer_len = buffer_len;

	blk_cfg = &dma->dma_blk_cfg;

	/* prepare the block */
	blk_cfg->block_size = buffer_len;

	/* Source and destination */

	/* Use 16-bit access of LSB (add 2 for MSB) */
	blk_cfg->source_address = (uint32_t)&data->filter.Instance->FLTRDATAR + 2;
	blk_cfg->source_addr_adj = DMA_ADDR_ADJ_NO_CHANGE;
	blk_cfg->source_reload_en = 1;

	blk_cfg->dest_address = (uint32_t)buffer;
	blk_cfg->dest_addr_adj = DMA_ADDR_ADJ_INCREMENT;
	blk_cfg->dest_reload_en = 1;

	/* Manually set the FIFO threshold to 1/4 because the
	 * dmamux DTS entry does not contain fifo threshold
	 */
	blk_cfg->fifo_mode_control = 0;

	blk_cfg->next_block = NULL;

	/* direction is given by the DT */
	dma->dma_cfg.block_count = 1;
	dma->dma_cfg.complete_callback_en = 1; /* Callback at each block */

	dma->dma_cfg.head_block = blk_cfg;
	dma->dma_cfg.user_data = data;
	dma->dma_cfg.cyclic = data->continuous;

	ret = dma_config(data->dma.dma_dev, data->dma.channel, &dma->dma_cfg);
	if (ret != 0) {
		LOG_ERR("Problem setting up DMA: %d", ret);
		return ret;
	}

	data->dma_error = 0;
	ret = dma_start(data->dma.dma_dev, data->dma.channel);
	if (ret != 0) {
		LOG_ERR("Problem starting DMA: %d", ret);
		return ret;
	}

	LOG_DBG("DMA started: %d B to %p", blk_cfg->block_size, (void *)blk_cfg->dest_address);

	return ret;
}

int dfsdm_stm32_start(const struct device *dev, void *buffer, size_t buffer_len,
		      dfsdm_dma_callback cb)
{
	struct dfsdm_stm32_data *data = (struct dfsdm_stm32_data *)dev->data;
	HAL_StatusTypeDef ret;

	data->buffer = (uint8_t *)buffer;
	data->buffer_len = buffer_len;
	data->callback = cb;
	dfsdm_stm32_dma_start(dev, buffer, buffer_len);

	/* Enable extrema tracking */
	/* TODO: don't hard-code DFSDM_CHANNEL_0 */
	HAL_DFSDM_FilterExdStart(&data->filter, DFSDM_CHANNEL_0);
	/* The next step is typically HAL_DFSDM_FilterRegularStart_DMA, but this just starts
	 * the associated DMA and then runs DFSDM_RegConvStart(). */
	dma_start(data->dma.dma_dev, data->dma.channel);
	ret = HAL_DFSDM_FilterRegularStart(&data->filter);

	return 0;
}

static int dfsdm_stm32_init(const struct device *dev)
{
	struct dfsdm_stm32_data *data = (struct dfsdm_stm32_data *)dev->data;
	const struct dfsdm_stm32_config *cfg = (const struct dfsdm_stm32_config *)dev->config;
	HAL_StatusTypeDef ret;
	int err;

	if (!device_is_ready(DEVICE_DT_GET(STM32_CLOCK_CONTROL_NODE))) {
		LOG_ERR("clock control device not ready");
		return -ENODEV;
	}

	/* TODO: we don't currently support clock selection */
	err = clock_control_on(DEVICE_DT_GET(STM32_CLOCK_CONTROL_NODE),
			       (clock_control_subsys_t)&cfg->pclken[0]);
	if (err < 0) {
		LOG_ERR("Could not enable DFSDM clock");
		return err;
	}

	if (!device_is_ready(cfg->reset.dev)) {
		LOG_ERR("Reset controller device not ready");
		return -ENODEV;
	}

	err = reset_line_toggle(cfg->reset.dev, cfg->reset.id);
	if (err != 0) {
		LOG_ERR("DFSDM reset failed");
		return err;
	}

	ret = HAL_DFSDM_ChannelInit(&data->channel);
	if (ret != HAL_OK) {
		LOG_ERR("Failed to initialize DFSDM filter channel");
		return ret;
	}

	data->filter.Init.FilterParam.IntOversampling = data->intg_oversample;
	data->filter.Init.FilterParam.Oversampling = data->sinc_oversample;
	data->filter.Init.FilterParam.SincOrder = data->sinc_order << DFSDM_FLTFCR_FORD_Pos;
	ret = HAL_DFSDM_FilterInit(&data->filter);
	if (ret != HAL_OK) {
		LOG_ERR("Failed to initialize DFSDM filter");
		return ret;
	}

	ret = HAL_DFSDM_FilterConfigRegChannel(&data->filter, DFSDM_CHANNEL_0,
					       DFSDM_CONTINUOUS_CONV_ON);
	if (ret != HAL_OK) {
		LOG_ERR("Failed to configure DFSDM filter");
		return ret;
	}

	LOG_INF("%s: init complete", dev->name);

	return 0;
}

#define DFSDM_DMA_CHANNEL_INIT(index, src_dev, dest_dev)                                           \
	.dma = {                                                                                   \
		.dma_dev = DEVICE_DT_GET(DT_INST_DMAS_CTLR_BY_IDX(index, 0)),                      \
		.channel = DT_INST_DMAS_CELL_BY_IDX(index, 0, channel),                            \
		.dma_cfg =                                                                         \
			{                                                                          \
				.dma_slot = STM32_DMA_SLOT_BY_IDX(index, 0, slot),                 \
				.channel_direction = STM32_DMA_CONFIG_DIRECTION(                   \
					STM32_DMA_CHANNEL_CONFIG_BY_IDX(index, 0)),                \
				.source_data_size = STM32_DMA_CONFIG_##src_dev##_DATA_SIZE(        \
					STM32_DMA_CHANNEL_CONFIG_BY_IDX(index, 0)),                \
				.dest_data_size = STM32_DMA_CONFIG_##dest_dev##_DATA_SIZE(         \
					STM32_DMA_CHANNEL_CONFIG_BY_IDX(index, 0)),                \
				.source_burst_length = 1, /* SINGLE transfer */                    \
				.dest_burst_length = 4,   /* Burst transfer to mem */              \
				.channel_priority = STM32_DMA_CONFIG_PRIORITY(                     \
					STM32_DMA_CHANNEL_CONFIG_BY_IDX(index, 0)),                \
				.dma_callback = dma_callback,                                      \
				.complete_callback_en = 1, /* Callback at each block */            \
				.block_count = 1,                                                  \
			},                                                                         \
		.src_addr_increment = STM32_DMA_CONFIG_##src_dev##_ADDR_INC(                       \
			STM32_DMA_CHANNEL_CONFIG_BY_IDX(index, 0)),                                \
		.dst_addr_increment = STM32_DMA_CONFIG_##dest_dev##_ADDR_INC(                      \
			STM32_DMA_CHANNEL_CONFIG_BY_IDX(index, 0)),                                \
	}

#define STM32_DFSDM_INIT(id)                                                                                   \
                                                                                                               \
	static const struct stm32_pclken pclken_##id[] = STM32_DT_INST_CLOCKS(id);                             \
                                                                                                               \
	static const struct dfsdm_stm32_config dfsdm_stm32_cfg_##id = {                                        \
		.pclken = pclken_##id,                                                                         \
		.pclk_len = DT_INST_NUM_CLOCKS(id),                                                            \
		.reset = RESET_DT_SPEC_INST_GET(id),                                                           \
	};                                                                                                     \
                                                                                                               \
	static struct dfsdm_stm32_data dfsdm_stm32_data_##id = {                                               \
		.channel =                                                                                     \
			{                                                                                      \
				.Instance = (DFSDM_Channel_TypeDef *)DT_INST_REG_ADDR_BY_NAME(                 \
					id, channel),                                                          \
				.Init =                                                                        \
					{                                                                      \
						.Input =                                                       \
							{                                                      \
								.Multiplexer =                                 \
									DFSDM_CHANNEL_ADC_OUTPUT,              \
								.DataPacking =                                 \
									DFSDM_CHANNEL_STANDARD_MODE,           \
								.Pins = DFSDM_CHANNEL_SAME_CHANNEL_PINS,       \
							},                                                     \
						.Offset = 0,                                                   \
						.RightBitShift = DT_INST_PROP_OR(id, rshift, 0),               \
						.Awd =                                                         \
							{                                                      \
								.Oversampling = 1,                             \
							},                                                     \
					},                                                                     \
			},                                                                                     \
		.filter =                                                                                      \
			{                                                                                      \
				.Instance = (DFSDM_Filter_TypeDef *)DT_INST_REG_ADDR_BY_NAME(                  \
					id, filter),                                                           \
				.Init =                                                                        \
					{                                                                      \
						.RegularParam =                                                \
							{                                                      \
								.Trigger =                                     \
									DFSDM_FILTER_SW_TRIGGER,               \
								.FastMode = ENABLE,                            \
								.DmaMode = ENABLE,                             \
							},                                                     \
						.FilterParam =                                                 \
							{                                                      \
								.IntOversampling =                             \
									1, /* Integrator bypass */             \
								.Oversampling = 16,                            \
								.SincOrder =                                   \
									DFSDM_FILTER_SINC3_ORDER, /* Shrug? */ \
							},                                                     \
					},                                                                     \
			},                                                                                     \
		.continuous = true,                                                                            \
		.sinc_order = (enum sinc_order_t)DT_ENUM_IDX_OR(id, sinc_order, 0),                            \
		.sinc_oversample = DT_INST_PROP_OR(id, sinc_oversample, 16),                                   \
		.intg_oversample = DT_INST_PROP_OR(id, intg_oversample, 1),                                    \
		DFSDM_DMA_CHANNEL_INIT(id, PERIPHERAL, MEMORY)};                                               \
                                                                                                               \
	DEVICE_DT_INST_DEFINE(id, &dfsdm_stm32_init, NULL, &dfsdm_stm32_data_##id,                             \
			      &dfsdm_stm32_cfg_##id, POST_KERNEL, CONFIG_ADC_INIT_PRIORITY, NULL);

DT_INST_FOREACH_STATUS_OKAY(STM32_DFSDM_INIT)
```

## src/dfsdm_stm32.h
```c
#ifndef __DFSDM_STM32_H__
#define __DFSDM_STM32_H__

#include <zephyr/kernel.h>

typedef int (*dfsdm_dma_callback)(const struct device *dev, int status, int32_t min, int32_t max);

int dfsdm_stm32_start(const struct device *dev, void *buffer, size_t buffer_len,
		      dfsdm_dma_callback cb);

#endif /* __DFSDM_STM32_H__ */
```

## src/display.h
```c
#ifndef __DISPLAY_H__
#define __DISPLAY_H__

#include <stdint.h>

/* Internal */
#define THIN_BAR_FULL  0xD0
#define THICK_BAR_FULL 0xD6
#define BAR_FULL       THICK_BAR_FULL

#define PARTIAL_BAR(n) (BAR_FULL + DISPLAY_CHAR_W - (n))

/* External */
#define DISPLAY_HRES   10
#define DISPLAY_VRES   4
#define DISPLAY_CHAR_W 5
#define DISPLAY_CHAR_H 8

void display_init(void);

void display_text(uint8_t line, const char *text);
void display_bar(uint8_t line, uint8_t lvl);
void display_init_menu(const char *title, char **options, int opt_len, uint16_t start_pos);
void display_update_menu(uint16_t pos);
uint8_t display_select_menu(void);

#endif /* __DISPLAY_H__ */
```
